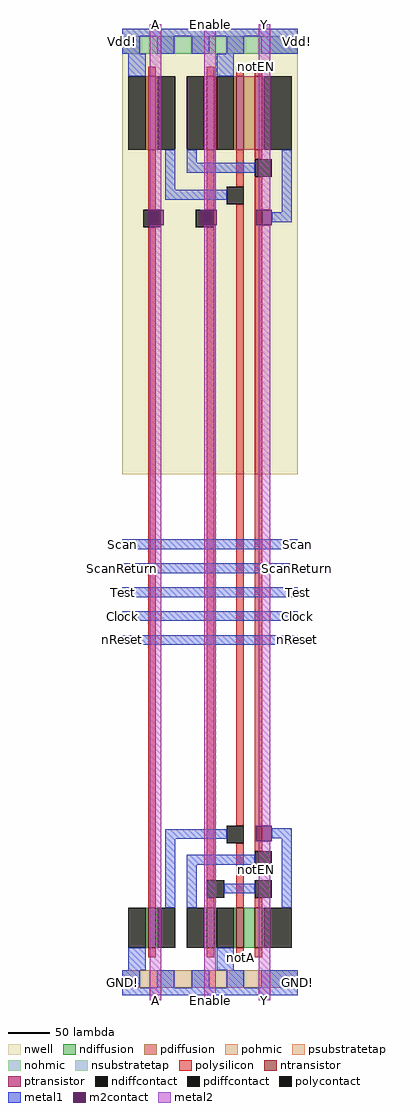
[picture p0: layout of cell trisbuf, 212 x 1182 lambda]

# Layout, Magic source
magic
tech tsmc180
<< nwell >>
rect 0 637 212 1176
<< polysilicon >>
rect 31 1119 40 1130
rect 102 1119 111 1130
rect 138 1119 147 1130
rect 160 1119 169 1130
rect 31 957 40 1030
rect 102 957 111 1030
rect 138 985 147 1030
rect 110 936 111 957
rect 31 112 40 936
rect 102 145 111 936
rect 138 211 147 964
rect 102 112 111 124
rect 138 112 147 190
rect 160 1018 169 1030
rect 160 180 169 997
rect 160 158 169 159
rect 160 112 169 124
rect 31 52 40 63
rect 102 52 111 63
rect 138 52 147 63
rect 160 52 169 63
<< ndiffusion >>
rect 28 63 31 112
rect 40 63 43 112
rect 99 63 102 112
rect 111 63 114 112
rect 135 63 138 112
rect 147 63 160 112
rect 169 63 172 112
<< pdiffusion >>
rect 28 1030 31 1119
rect 40 1030 43 1119
rect 99 1030 102 1119
rect 111 1030 114 1119
rect 135 1030 138 1119
rect 147 1030 160 1119
rect 169 1030 172 1119
<< pohmic >>
rect 0 15 21 36
rect 42 15 63 36
rect 84 15 105 36
rect 126 15 147 36
rect 168 15 212 36
<< nohmic >>
rect 0 1146 21 1167
rect 42 1146 63 1167
rect 84 1146 105 1167
rect 126 1146 147 1167
rect 168 1146 212 1167
<< ntransistor >>
rect 31 63 40 112
rect 102 63 111 112
rect 138 63 147 112
rect 160 63 169 112
<< ptransistor >>
rect 31 1030 40 1119
rect 102 1030 111 1119
rect 138 1030 147 1119
rect 160 1030 169 1119
<< polycontact >>
rect 126 964 147 985
rect 25 936 46 957
rect 89 936 110 957
rect 126 190 147 211
rect 102 124 123 145
rect 160 997 181 1018
rect 160 159 181 180
rect 160 124 181 145
<< ndiffcontact >>
rect 7 63 28 112
rect 43 63 64 112
rect 78 63 99 112
rect 114 63 135 112
rect 172 63 205 112
<< pdiffcontact >>
rect 7 1030 28 1119
rect 43 1030 64 1119
rect 78 1030 99 1119
rect 114 1030 135 1119
rect 172 1030 205 1119
<< psubstratetap >>
rect 21 15 42 36
rect 63 15 84 36
rect 105 15 126 36
rect 147 15 168 36
<< nsubstratetap >>
rect 21 1146 42 1167
rect 63 1146 84 1167
rect 105 1146 126 1167
rect 147 1146 168 1167
<< metal1 >>
rect 0 1167 212 1176
rect 0 1146 21 1167
rect 42 1146 63 1167
rect 84 1146 105 1167
rect 126 1146 147 1167
rect 168 1146 212 1167
rect 7 1119 28 1146
rect 114 1119 135 1146
rect 52 981 64 1030
rect 78 1014 90 1030
rect 78 1002 160 1014
rect 52 969 126 981
rect 193 954 205 1030
rect 181 942 205 954
rect 0 546 212 558
rect 0 517 212 529
rect 0 488 212 500
rect 0 459 212 471
rect 0 430 212 442
rect 52 195 126 207
rect 52 112 64 195
rect 181 196 205 208
rect 78 164 160 176
rect 78 112 90 164
rect 123 129 160 141
rect 193 112 205 196
rect 7 36 28 63
rect 114 36 135 63
rect 0 15 21 36
rect 42 15 63 36
rect 84 15 105 36
rect 126 15 147 36
rect 168 15 212 36
rect 0 6 212 15
<< m2contact >>
rect 31 938 46 957
rect 46 938 50 957
rect 95 938 110 957
rect 110 938 114 957
rect 162 938 181 957
rect 162 192 181 211
<< metal2 >>
rect 33 957 47 1182
rect 99 957 113 1182
rect 165 957 179 1182
rect 33 0 47 938
rect 99 0 113 938
rect 165 211 179 938
rect 165 0 179 192
<< labels >>
rlabel metal1 0 546 0 558 3 Scan
rlabel metal1 0 517 0 529 3 ScanReturn
rlabel metal1 0 488 0 500 3 Test
rlabel metal1 0 459 0 471 3 Clock
rlabel metal1 0 430 0 442 3 nReset
rlabel metal1 212 430 212 442 7 nReset
rlabel metal1 212 459 212 471 7 Clock
rlabel metal1 212 488 212 500 7 Test
rlabel metal1 212 517 212 529 7 ScanReturn
rlabel metal1 212 546 212 558 7 Scan
rlabel metal1 0 1146 0 1176 3 Vdd!
rlabel metal2 33 1182 47 1182 5 A
rlabel metal1 212 1146 212 1176 7 Vdd!
rlabel metal2 165 1182 179 1182 5 Y
rlabel metal2 99 1182 113 1182 5 Enable
rlabel polysilicon 162 1130 162 1130 1 notEN
rlabel polysilicon 143 1130 143 1130 1 notA
rlabel metal2 165 0 179 0 1 Y
rlabel metal1 212 6 212 36 7 GND!
rlabel metal2 33 0 47 0 1 A
rlabel metal1 0 6 0 36 3 GND!
rlabel metal2 99 0 113 0 1 Enable
rlabel polysilicon 162 158 162 158 1 notEN
rlabel polysilicon 143 52 143 52 1 notA
<< end >>
